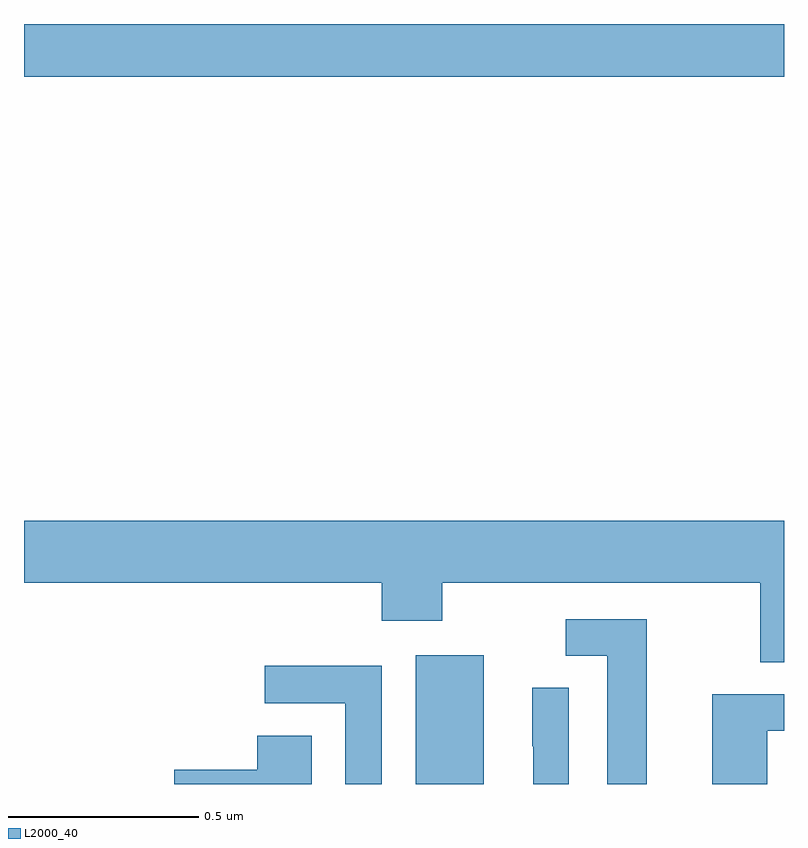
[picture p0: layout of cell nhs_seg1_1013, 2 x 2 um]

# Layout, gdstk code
import gdstk
lib = gdstk.Library(unit=1e-6, precision=1e-09)
def R(c, l, rs):  # rectangles x0, y0, x1, y1
    for r in rs: c.add(gdstk.rectangle(r[:2], r[2:], *l))
def P(c, l, *ps):  # polygons
    for p in ps: c.add(gdstk.Polygon(p, *l))
L2000_40 = (2000, 40)

nhs_seg1_1013 = lib.new_cell('nhs_seg1_1013')
R(nhs_seg1_1013, L2000_40, [(124.031,555.199,124.21,555.538), (123,557.06,125,557.199)])
P(nhs_seg1_1013, L2000_40, [(125,555.892),(123,555.892),(123,555.728),(123.941,555.728),(123.941,555.629),(124.101,555.629),(124.101,555.728),(124.937,555.728),(124.937,555.52),(125,555.52)],
  [(124.639,555.633),(124.425,555.633),(124.425,555.537),(124.535,555.537),(124.535,555.199),(124.639,555.199)],
  [(123.942,555.51),(123.633,555.51),(123.633,555.411),(123.846,555.411),(123.846,555.199),(123.942,555.199)],
  [(124.434,555.452),(124.338,555.452),(124.338,555.298),(124.34,555.298),(124.34,555.199),(124.434,555.199)],
  [(124.956,555.339),(125,555.339),(125,555.435),(124.811,555.435),(124.811,555.199),(124.956,555.199)],
  [(123.757,555.326),(123.614,555.326),(123.614,555.236),(123.396,555.236),(123.396,555.199),(123.757,555.199)])

lib.write_gds('nhs_seg1_1013.gds')
